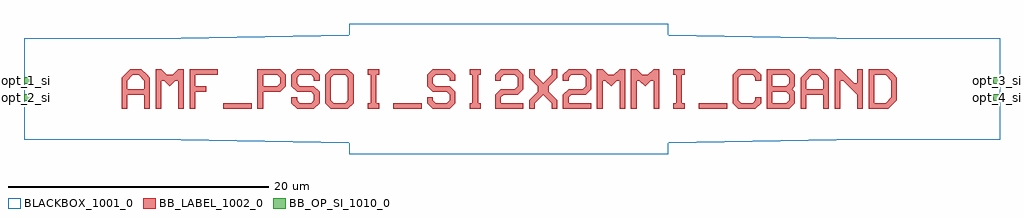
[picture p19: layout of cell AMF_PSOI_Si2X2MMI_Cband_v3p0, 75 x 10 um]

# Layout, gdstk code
import gdstk
lib = gdstk.Library(unit=1e-6, precision=1e-09)
def R(c, l, rs):  # rectangles x0, y0, x1, y1
    for r in rs: c.add(gdstk.rectangle(r[:2], r[2:], *l))
def P(c, l, *ps):  # polygons
    for p in ps: c.add(gdstk.Polygon(p, *l))
BLACKBOX_1001_0 = (1001, 0)
BB_LABEL_1002_0 = (1002, 0)
BB_OP_SI_1010_0 = (1010, 0)

amf_psoi_si2x2mmi_cband_ = lib.new_cell('AMF_PSOI_Si2X2MMI_Cband_v3p0')
P(amf_psoi_si2x2mmi_cband_, BLACKBOX_1001_0, [(25,-5),(25,-4.168),(9.95,-3.917),(0,-3.917),(0,3.917),(9.95,3.917),(25,4.168),(25,5),(49.5,5),(49.5,4.168),(64.55,3.917),(75,3.917),(75,-3.917),(64.55,-3.917),(49.5,-4.168),(49.5,-5)])
R(amf_psoi_si2x2mmi_cband_, BB_LABEL_1002_0, [(15.327,-1.522,17.501,-1.087), (28.372,-1.522,30.546,-1.087), (51.853,-1.522,54.027,-1.087)])
P(amf_psoi_si2x2mmi_cband_, BB_LABEL_1002_0, [(7.5,-1.522),(7.5,0.869),(8.152,1.522),(9.022,1.522),(9.457,1.087),(8.37,1.087),(7.935,0.652),(7.935,0),(9.239,0),(9.239,0.652),(8.804,1.087),(9.457,1.087),(9.674,0.869),(9.674,-1.522),(9.239,-1.522),(9.239,-0.435),(7.935,-0.435),(7.935,-1.522)],
  [(10.109,-1.522),(10.109,1.522),(10.544,1.522),(10.979,1.087),(11.413,1.087),(11.848,1.522),(12.283,1.522),(12.283,-1.522),(11.848,-1.522),(11.848,0.652),(11.631,0.652),(11.196,0.217),(10.761,0.652),(10.544,0.652),(10.544,-1.522)],
  [(12.718,-1.522),(12.718,1.522),(14.892,1.522),(14.892,1.087),(13.153,1.087),(13.153,0.217),(14.022,0.217),(14.022,-0.218),(13.153,-0.218),(13.153,-1.522)],
  [(17.936,-1.522),(17.936,1.522),(19.675,1.522),(20.11,1.087),(20.11,0.217),(19.675,-0.218),(18.371,-0.218),(18.371,0.217),(19.458,0.217),(19.675,0.435),(19.675,0.869),(19.458,1.087),(18.371,1.087),(18.371,-1.522)],
  [(20.98,-1.522),(20.545,-1.087),(20.545,-0.652),(20.98,-0.652),(20.98,-0.87),(21.197,-1.087),(22.067,-1.087),(22.284,-0.87),(22.284,-0.435),(22.067,-0.218),(20.98,-0.218),(20.545,0.217),(20.545,1.087),(20.98,1.522),(22.284,1.522),(22.719,1.087),(22.719,0.652),(22.284,0.652),(22.284,0.869),(22.067,1.087),(21.197,1.087),(20.98,0.869),(20.98,0.435),(21.197,0.217),(22.284,0.217),(22.719,-0.218),(22.719,-1.087),(22.284,-1.522)],
  [(23.589,-1.522),(23.154,-1.087),(23.154,1.087),(23.589,1.522),(24.893,1.522),(25.328,1.087),(25.328,0),(24.893,0),(24.893,0.869),(24.676,1.087),(23.806,1.087),(23.589,0.869),(23.589,-0.87),(23.806,-1.087),(24.676,-1.087),(24.893,-0.87),(24.893,0),(25.328,0),(25.328,-1.087),(24.893,-1.522)],
  [(26.415,-1.522),(26.415,-1.087),(26.633,-1.087),(26.633,1.087),(26.415,1.087),(26.415,1.522),(27.285,1.522),(27.285,1.087),(27.067,1.087),(27.067,-1.087),(27.285,-1.087),(27.285,-1.522)],
  [(31.416,-1.522),(30.981,-1.087),(30.981,-0.652),(31.416,-0.652),(31.416,-0.87),(31.633,-1.087),(32.503,-1.087),(32.72,-0.87),(32.72,-0.435),(32.503,-0.218),(31.416,-0.218),(30.981,0.217),(30.981,1.087),(31.416,1.522),(32.72,1.522),(33.155,1.087),(33.155,0.652),(32.72,0.652),(32.72,0.869),(32.503,1.087),(31.633,1.087),(31.416,0.869),(31.416,0.435),(31.633,0.217),(32.72,0.217),(33.155,-0.218),(33.155,-1.087),(32.72,-1.522)],
  [(34.242,-1.522),(34.242,-1.087),(34.46,-1.087),(34.46,1.087),(34.242,1.087),(34.242,1.522),(35.112,1.522),(35.112,1.087),(34.894,1.087),(34.894,-1.087),(35.112,-1.087),(35.112,-1.522)],
  [(36.199,-1.522),(36.199,-0.435),(36.634,0),(37.721,0),(37.938,0.217),(37.938,0.869),(37.721,1.087),(36.851,1.087),(36.634,0.869),(36.634,0.652),(36.199,0.652),(36.199,1.087),(36.634,1.522),(37.938,1.522),(38.373,1.087),(38.373,0),(37.938,-0.435),(36.851,-0.435),(36.634,-0.652),(36.634,-1.087),(38.373,-1.087),(38.373,-1.522)],
  [(38.808,-1.522),(38.808,-0.87),(39.46,-0.218),(39.46,0.217),(38.808,0.869),(38.808,1.522),(39.243,1.522),(39.243,1.087),(39.895,0.435),(40.547,1.087),(40.547,1.522),(40.982,1.522),(40.982,0.869),(40.33,0.217),(40.33,-0.218),(40.982,-0.87),(40.982,-1.522),(40.547,-1.522),(40.547,-1.087),(39.895,-0.435),(39.243,-1.087),(39.243,-1.522)],
  [(41.417,-1.522),(41.417,-0.435),(41.852,0),(42.939,0),(43.156,0.217),(43.156,0.869),(42.939,1.087),(42.069,1.087),(41.852,0.869),(41.852,0.652),(41.417,0.652),(41.417,1.087),(41.852,1.522),(43.156,1.522),(43.591,1.087),(43.591,0),(43.156,-0.435),(42.069,-0.435),(41.852,-0.652),(41.852,-1.087),(43.591,-1.087),(43.591,-1.522)],
  [(44.026,-1.522),(44.026,1.522),(44.461,1.522),(44.896,1.087),(45.33,1.087),(45.765,1.522),(46.2,1.522),(46.2,-1.522),(45.765,-1.522),(45.765,0.652),(45.548,0.652),(45.113,0.217),(44.678,0.652),(44.461,0.652),(44.461,-1.522)],
  [(46.635,-1.522),(46.635,1.522),(47.07,1.522),(47.505,1.087),(47.939,1.087),(48.374,1.522),(48.809,1.522),(48.809,-1.522),(48.374,-1.522),(48.374,0.652),(48.157,0.652),(47.722,0.217),(47.287,0.652),(47.07,0.652),(47.07,-1.522)],
  [(49.896,-1.522),(49.896,-1.087),(50.114,-1.087),(50.114,1.087),(49.896,1.087),(49.896,1.522),(50.766,1.522),(50.766,1.087),(50.548,1.087),(50.548,-1.087),(50.766,-1.087),(50.766,-1.522)],
  [(54.897,-1.522),(54.462,-1.087),(54.462,1.087),(54.897,1.522),(56.201,1.522),(56.636,1.087),(56.636,0.652),(56.201,0.652),(56.201,0.869),(55.984,1.087),(55.114,1.087),(54.897,0.869),(54.897,-0.87),(55.114,-1.087),(55.984,-1.087),(56.201,-0.87),(56.201,-0.652),(56.636,-0.652),(56.636,-1.087),(56.201,-1.522)],
  [(57.071,-1.522),(57.071,1.522),(58.81,1.522),(59.245,1.087),(57.506,1.087),(57.506,0.217),(58.593,0.217),(58.81,0.435),(58.81,0.869),(58.593,1.087),(59.245,1.087),(59.245,0.217),(59.028,0),(59.245,-0.218),(57.506,-0.218),(57.506,-1.087),(58.593,-1.087),(58.81,-0.87),(58.81,-0.435),(58.593,-0.218),(59.245,-0.218),(59.245,-1.087),(58.81,-1.522)],
  [(59.68,-1.522),(59.68,0.869),(60.332,1.522),(61.202,1.522),(61.637,1.087),(60.55,1.087),(60.115,0.652),(60.115,0),(61.419,0),(61.419,0.652),(60.984,1.087),(61.637,1.087),(61.854,0.869),(61.854,-1.522),(61.419,-1.522),(61.419,-0.435),(60.115,-0.435),(60.115,-1.522)],
  [(62.289,-1.522),(62.289,1.522),(62.724,1.522),(63.811,0.435),(64.028,0.435),(64.028,1.522),(64.463,1.522),(64.463,-1.522),(64.028,-1.522),(64.028,-0.435),(62.941,0.652),(62.724,0.652),(62.724,-1.522)],
  [(64.898,-1.522),(64.898,1.522),(66.42,1.522),(66.855,1.087),(65.333,1.087),(65.333,-1.087),(66.202,-1.087),(66.637,-0.652),(66.637,0.652),(66.202,1.087),(66.855,1.087),(67.072,0.869),(67.072,-0.87),(66.42,-1.522)])
R(amf_psoi_si2x2mmi_cband_, BB_OP_SI_1010_0, [(0,-0.917,0.5,-0.417), (74.5,-0.917,75,-0.417), (0,0.417,0.5,0.917), (74.5,0.417,75,0.917)])
amf_psoi_si2x2mmi_cband_.add(gdstk.Label('opt_1_si', (0,0.667), layer=1010, texttype=0))
amf_psoi_si2x2mmi_cband_.add(gdstk.Label('opt_2_si', (0,-0.667), layer=1010, texttype=0))
amf_psoi_si2x2mmi_cband_.add(gdstk.Label('opt_3_si', (75,0.667), layer=1010, texttype=0))
amf_psoi_si2x2mmi_cband_.add(gdstk.Label('opt_4_si', (75,-0.667), layer=1010, texttype=0))

lib.write_gds('AMF_PSOI_Si2X2MMI_Cband_v3p0.gds')
